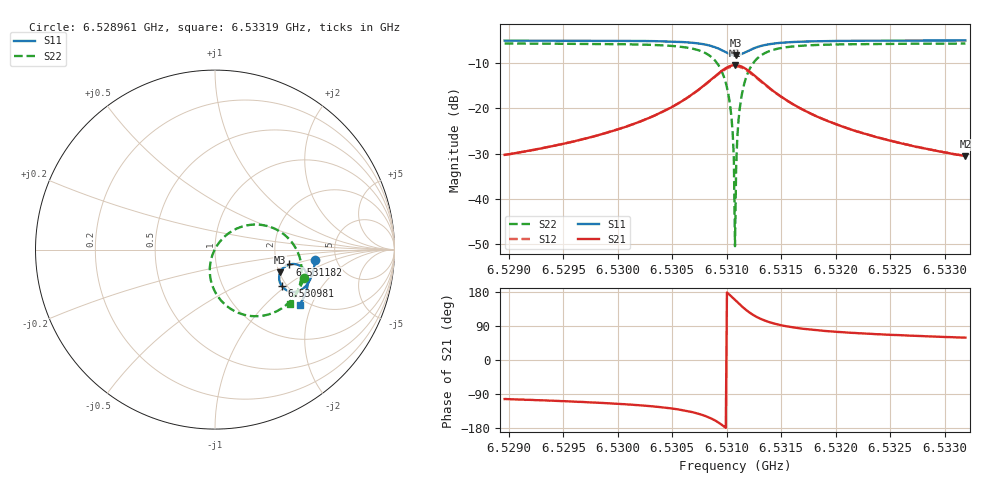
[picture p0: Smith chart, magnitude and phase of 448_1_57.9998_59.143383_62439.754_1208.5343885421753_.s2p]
#  HZ  S  RI  R  50.00
! Rohde & Schwarz Vector Network Analyzer
! Rohde-Schwarz,ZNB20-2Port,1311601062101988,3.16
! Created: UTC 3/21/2024, 1:10:20 AM
! freq[Hz]  re:S11  im:S11  re:S21  im:S21  re:S12  im:S12  re:S22  im:S22
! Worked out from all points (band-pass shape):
!   401 points, 6.528961 GHz to 6.53319 GHz, reference 50 ohm
!   highest |S21| = -10.45 dB at 6.531076 GHz (marker M1); lowest = -30.6 dB at 6.53319 GHz (marker M2)
!   |S21| within 3 dB of the highest: 6.530866 GHz to 6.531289 GHz (423.3 kHz wide, 0.00648 % of centre)
!   lowest |S11| = -8.3 dB at 6.531087 GHz (marker M3), VSWR 2.25, Z = 101 - j30.2 ohm
!   |S11| at or under -10 dB: nowhere
!   |S22| runs from -50.5 to -5.7 dB; largest |S21 - S12| = 0.012
!   S11 on the Smith chart (normalised r, x): 6.528961 GHz: 3.45, -0.58; 6.530981 GHz: 1.88, -0.93; 6.531182 GHz: 2.35, -0.47; 6.53319 GHz: 1.82, -1.64
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6.5289615e9  0.5581 -0.0577  -0.00689 -0.0298  -0.0074 -0.0296  0.4949 -0.1606
6.5296698e9  0.5478 -0.1163  -0.0159 -0.0422  -0.0169 -0.042  0.465 -0.226
6.5303782e9  0.5197 -0.1856  -0.0489 -0.0726  -0.051 -0.0713  0.3852 -0.3177
6.5308011e9  0.45 -0.2347  -0.1544 -0.0982  -0.1566 -0.0922  0.1825 -0.3675
6.5309068e9  0.4063 -0.2297  -0.2224 -0.0728  -0.2219 -0.0636  0.0661 -0.3147
6.5309808e9  0.3722 -0.2032  -0.2727 -0.0157  -0.2676 -0.00605  -0.011 -0.2106
6.5310337e9  0.3581 -0.1681  -0.2898 0.0505  -0.2807 0.0576  -0.0287 -0.0978
6.5310442e9  0.3574 -0.16  -0.2894 0.0656  -0.2799 0.0719  -0.0257 -0.0734
6.5310548e9  0.3576 -0.1517  -0.2877 0.0805  -0.2777 0.086  -0.0204 -0.0488
6.5310654e9  0.3586 -0.1434  -0.2844 0.0954  -0.2741 0.0998  -0.0126 -0.025
6.531076e9  0.3606 -0.1352  -0.2794 0.1099  -0.2691 0.1136  -0.00244 -0.00173
6.5310865e9  0.3634 -0.1274  -0.2733 0.124  -0.263 0.1266  0.00996 0.0203
6.5310971e9  0.3672 -0.1199  -0.2659 0.1373  -0.2555 0.1389  0.0246 0.0411
6.5311077e9  0.3715 -0.1128  -0.257 0.1498  -0.2469 0.1505  0.0407 0.0601
6.5311183e9  0.3766 -0.1065  -0.2471 0.1609  -0.2375 0.1609  0.0586 0.0771
6.5311394e9  0.3883 -0.0956  -0.2253 0.1801  -0.2166 0.1788  0.0977 0.1049
6.5311817e9  0.4147 -0.0827  -0.1776 0.2029  -0.171 0.2001  0.1806 0.1355
6.5312557e9  0.4567 -0.0831  -0.1035 0.2053  -0.1002 0.2024  0.3055 0.1271
6.5313614e9  0.4932 -0.1054  -0.0398 0.1752  -0.0382 0.1735  0.4098 0.0618
6.5317843e9  0.5181 -0.1849  0.0153 0.0845  0.0163 0.0842  0.4827 -0.1277
6.5324927e9  0.4985 -0.2565  0.0175 0.0405  0.0182 0.0403  0.4552 -0.2444
6.5331905e9  0.4712 -0.308  0.0152 0.0254  0.0158 0.0252  0.4202 -0.3058
